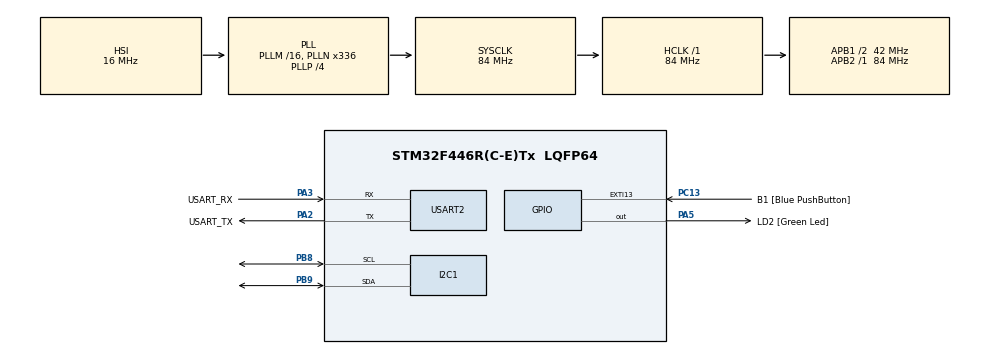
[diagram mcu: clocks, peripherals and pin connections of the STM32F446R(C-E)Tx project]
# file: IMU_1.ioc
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Mcu.Family=STM32F4
Mcu.Name=STM32F446R(C-E)Tx
Mcu.Package=LQFP64
NVIC.PriorityGroup=NVIC_PRIORITYGROUP_0
PA13.GPIO_Label=TMS
PA13.Signal=SYS_JTMS-SWDIO
PA14.GPIO_Label=TCK
PA14.Signal=SYS_JTCK-SWCLK
PA2.GPIO_Label=USART_TX
PA2.Mode=Asynchronous
PA2.Signal=USART2_TX
PA3.GPIO_Label=USART_RX
PA3.Mode=Asynchronous
PA3.Signal=USART2_RX
PA5.GPIO_Label=LD2 [Green Led]
PA5.GPIO_PuPd=GPIO_NOPULL
PA5.PinState=GPIO_PIN_SET
PA5.Signal=GPIO_Output
PB3.GPIO_Label=SWO
PB3.Signal=SYS_JTDO-SWO
PB8.GPIO_Pu=GPIO_PULLUP
PB8.Mode=I2C
PB8.Signal=I2C1_SCL
PB9.GPIO_Pu=GPIO_PULLUP
PB9.Mode=I2C
PB9.Signal=I2C1_SDA
PC13.GPIO_Label=B1 [Blue PushButton]
PC13.GPIO_ModeDefaultEXTI=GPIO_MODE_IT_FALLING
PC13.GPIO_PuPd=GPIO_NOPULL
PC13.Signal=GPXTI13
PC14-OSC32_IN.Signal=RCC_OSC32_IN
PC15-OSC32_OUT.Signal=RCC_OSC32_OUT
PH0-OSC_IN.Signal=RCC_OSC_IN
PH1-OSC_OUT.Signal=RCC_OSC_OUT
ProjectManager.HeapSize=0x200
ProjectManager.StackSize=0x400
ProjectManager.TargetToolchain=STM32CubeIDE
RCC.AHBFreq_Value=84000000
RCC.APB1CLKDivider=RCC_HCLK_DIV2
RCC.APB1Freq_Value=42000000
RCC.APB1TimFreq_Value=84000000
RCC.APB2Freq_Value=84000000
RCC.APB2TimFreq_Value=84000000
RCC.CortexFreq_Value=84000000
RCC.FLatency-AdvancedSettings=FLASH_LATENCY_2
RCC.HCLKFreq_Value=84000000
RCC.HSE_VALUE=8000000
RCC.HSI_VALUE=16000000
RCC.LSE_VALUE=32768
RCC.PLLN=336
RCC.PLLP=RCC_PLLP_DIV4
RCC.SYSCLKFreq_VALUE=84000000
RCC.SYSCLKSource=RCC_SYSCLKSOURCE_PLLCLK
RCC.USBFreq_Value=168000000
RCC.VCOOutputFreq_Value=336000000
USART2.VirtualMode=VM_ASYNC
board=NUCLEO-F446RE

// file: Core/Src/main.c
/* USER CODE BEGIN Header */
/**
  ******************************************************************************
  * @file           : main.c
  * @brief          : Main program body
  ******************************************************************************
  * @attention
  *
  * Copyright (c) 2026 STMicroelectronics.
  * All rights reserved.
  *
  * This software is licensed under terms that can be found in the LICENSE file
  * in the root directory of this software component.
  * If no LICENSE file comes with this software, it is provided AS-IS.
  *
  ******************************************************************************
  */
/* USER CODE END Header */
#include "main.h"
#include <stdio.h>
#include <string.h>

/* USER CODE BEGIN PTD */
typedef struct
{
    int16_t accel_raw_x;
    int16_t accel_raw_y;
    int16_t accel_raw_z;

    int16_t gyro_raw_x;
    int16_t gyro_raw_y;
    int16_t gyro_raw_z;

    int16_t temperature_raw;

    float accel_x_g;
    float accel_y_g;
    float accel_z_g;

    float gyro_x_dps;
    float gyro_y_dps;
    float gyro_z_dps;

    float temperature_c;
} MPU6050_Data_t;

/* USER CODE END PTD */

/* USER CODE BEGIN PD */
/* HAL expects the 7-bit I2C address shifted left by one bit */
#define MPU6050_ADDR           (0x68 << 1)

#define MPU6050_REG_SMPLRT_DIV 0x19
#define MPU6050_REG_CONFIG     0x1A
#define MPU6050_REG_GYRO_CFG   0x1B
#define MPU6050_REG_ACCEL_CFG  0x1C
#define MPU6050_REG_DATA_START 0x3B
#define MPU6050_REG_PWR_MGMT_1 0x6B
#define MPU6050_REG_WHO_AM_I   0x75

/* USER CODE END PD */

I2C_HandleTypeDef hi2c1;

UART_HandleTypeDef huart2;

void SystemClock_Config(void);
static void MX_GPIO_Init(void);
static void MX_I2C1_Init(void);
static void MX_USART2_UART_Init(void);

/* USER CODE BEGIN 0 */

static HAL_StatusTypeDef MPU6050_WriteRegister(uint8_t reg,
                                               uint8_t value)
{
    return HAL_I2C_Mem_Write(&hi2c1,
                             MPU6050_ADDR,
                             reg,
                             I2C_MEMADD_SIZE_8BIT,
                             &value,
                             1,
                             HAL_MAX_DELAY);
}

static HAL_StatusTypeDef MPU6050_ReadRegister(uint8_t reg,
                                              uint8_t *value)
{
    return HAL_I2C_Mem_Read(&hi2c1,
                            MPU6050_ADDR,
                            reg,
                            I2C_MEMADD_SIZE_8BIT,
                            value,
                            1,
                            HAL_MAX_DELAY);
}

static HAL_StatusTypeDef MPU6050_Init(void)
{
    uint8_t who_am_i = 0;

    /*
     * Confirm that the MPU-6050 responds.
     * WHO_AM_I should normally return 0x68.
     */
    if (MPU6050_ReadRegister(MPU6050_REG_WHO_AM_I,
                            &who_am_i) != HAL_OK)
    {
        return HAL_ERROR;
    }

    if (who_am_i != 0x68)
    {
        return HAL_ERROR;
    }

    /*
     * PWR_MGMT_1:
     * Wake up the MPU-6050 and use the X-axis gyroscope
     * clock as the internal clock source.
     */
    if (MPU6050_WriteRegister(MPU6050_REG_PWR_MGMT_1,
                              0x01) != HAL_OK)
    {
        return HAL_ERROR;
    }

    HAL_Delay(100);

    /*
     * Sample rate:
     * Gyroscope output rate = 1 kHz when DLPF is enabled.
     * Sample rate = 1000 / (1 + 9) = 100 Hz.
     */
    if (MPU6050_WriteRegister(MPU6050_REG_SMPLRT_DIV,
                              9) != HAL_OK)
    {
        return HAL_ERROR;
    }

    /*
     * Digital low-pass filter configuration.
     * DLPF_CFG = 3.
     */
    if (MPU6050_WriteRegister(MPU6050_REG_CONFIG,
                              0x03) != HAL_OK)
    {
        return HAL_ERROR;
    }

    /*
     * Gyroscope full-scale range:
     * 0x00 = +/-250 degrees per second.
     * Sensitivity = 131 LSB/(degree/second).
     */
    if (MPU6050_WriteRegister(MPU6050_REG_GYRO_CFG,
                              0x00) != HAL_OK)
    {
        return HAL_ERROR;
    }

    /*
     * Accelerometer full-scale range:
     * 0x00 = +/-2 g.
     * Sensitivity = 16384 LSB/g.
     */
    if (MPU6050_WriteRegister(MPU6050_REG_ACCEL_CFG,
                              0x00) != HAL_OK)
    {
        return HAL_ERROR;
    }

    return HAL_OK;
}

static HAL_StatusTypeDef MPU6050_ReadData(MPU6050_Data_t *data)
{
    uint8_t buffer[14];

    /*
     * Read all 14 bytes in one I2C transaction:
     *
     * 0x3B-0x40: Accelerometer
     * 0x41-0x42: Temperature
     * 0x43-0x48: Gyroscope
     */
    if (HAL_I2C_Mem_Read(&hi2c1,
                         MPU6050_ADDR,
                         MPU6050_REG_DATA_START,
                         I2C_MEMADD_SIZE_8BIT,
                         buffer,
                         sizeof(buffer),
                         HAL_MAX_DELAY) != HAL_OK)
    {
        return HAL_ERROR;
    }

    data->accel_raw_x =
        (int16_t)((buffer[0] << 8) | buffer[1]);

    data->accel_raw_y =
        (int16_t)((buffer[2] << 8) | buffer[3]);

    data->accel_raw_z =
        (int16_t)((buffer[4] << 8) | buffer[5]);

    data->temperature_raw =
        (int16_t)((buffer[6] << 8) | buffer[7]);

    data->gyro_raw_x =
        (int16_t)((buffer[8] << 8) | buffer[9]);

    data->gyro_raw_y =
        (int16_t)((buffer[10] << 8) | buffer[11]);

    data->gyro_raw_z =
        (int16_t)((buffer[12] << 8) | buffer[13]);

    /*
     * Convert raw accelerometer data to g.
     * Sensitivity for +/-2 g = 16384 LSB/g.
     */
    data->accel_x_g = data->accel_raw_x / 16384.0f;
    data->accel_y_g = data->accel_raw_y / 16384.0f;
    data->accel_z_g = data->accel_raw_z / 16384.0f;

    /*
     * Convert raw gyroscope data to degrees per second.
     * Sensitivity for +/-250 dps = 131 LSB/dps.
     */
    data->gyro_x_dps = data->gyro_raw_x / 131.0f;
    data->gyro_y_dps = data->gyro_raw_y / 131.0f;
    data->gyro_z_dps = data->gyro_raw_z / 131.0f;

    /*
     * MPU-6050 temperature conversion formula.
     */
    data->temperature_c =
        (data->temperature_raw / 340.0f) + 36.53f;

    return HAL_OK;
}

static void UART_SendString(const char *text)
{
    HAL_UART_Transmit(&huart2,
                      (uint8_t *)text,
                      strlen(text),
                      HAL_MAX_DELAY);
}

/* USER CODE END 0 */

int main(void)
{

  /* MCU Configuration--------------------------------------------------------*/

  /* Reset of all peripherals, Initializes the Flash interface and the Systick. */
  HAL_Init();

  /* Configure the system clock */
  SystemClock_Config();

  /* Initialize all configured peripherals */
  MX_GPIO_Init();
  MX_I2C1_Init();
  MX_USART2_UART_Init();
  /* USER CODE BEGIN 2 */

  MPU6050_Data_t imu_data;

  /* USER CODE BEGIN WHILE */

  UART_SendString("Scanning I2C bus...\r\n");

  HAL_StatusTypeDef result;
  uint8_t i;
  char addFound[8];
  for (i = 1; i < 128; i++) {
      // Shift address left by 1 for STM32 HAL compatibility
      result = HAL_I2C_IsDeviceReady(&hi2c1, (uint16_t)(i << 1), 3, 5);

      if (result == HAL_OK) {
          // Device found!
    	  UART_SendString("I2C device found at address: 0x02");
    	  snprintf(addFound, sizeof(addFound), "%d", i);
    	  UART_SendString("\r\n");
      }
  }
  HAL_Delay(5000); // Scan every 5 seconds

  /* USER CODE END WHILE */

  UART_SendString("\r\nMPU-6050 test starting...\r\n");

  if (HAL_I2C_IsDeviceReady(&hi2c1,
                            MPU6050_ADDR,
                            3,
                            100) != HAL_OK)
  {
      UART_SendString("MPU-6050 not detected on I2C bus.\r\n");
      UART_SendString("Check power, SDA, SCL, GND, and AD0.\r\n");

      Error_Handler();
  }

  if (MPU6050_Init() != HAL_OK)
  {
      UART_SendString("MPU-6050 initialization failed.\r\n");

      Error_Handler();
  }

  UART_SendString("MPU-6050 initialized successfully.\r\n");

  /* USER CODE END 2 */

  /* Infinite loop */
  /* USER CODE BEGIN WHILE */
  while (1)
  {
	  char uart_buffer[200];

	  if (MPU6050_ReadData(&imu_data) == HAL_OK)
	  {
	      int length = snprintf(
	          uart_buffer,
	          sizeof(uart_buffer),
	          "ACC[g] X:%7.3f Y:%7.3f Z:%7.3f | "
	          "GYRO[dps] X:%8.2f Y:%8.2f Z:%8.2f | "
	          "TEMP:%6.2f C\r\n",
	          imu_data.accel_x_g,
	          imu_data.accel_y_g,
	          imu_data.accel_z_g,
	          imu_data.gyro_x_dps,
	          imu_data.gyro_y_dps,
	          imu_data.gyro_z_dps,
	          imu_data.temperature_c
	      );

	      if (length > 0)
	      {
	          HAL_UART_Transmit(&huart2,
	                            (uint8_t *)uart_buffer,
	                            length,
	                            HAL_MAX_DELAY);
	      }
	  }
	  else
	  {
	      UART_SendString("MPU-6050 read error.\r\n");
	  }

	  HAL_Delay(100);
    /* USER CODE END WHILE */

  }
}

void SystemClock_Config(void)
{
  RCC_OscInitTypeDef RCC_OscInitStruct = {0};
  RCC_ClkInitTypeDef RCC_ClkInitStruct = {0};

  /** Configure the main internal regulator output voltage
  */
  __HAL_RCC_PWR_CLK_ENABLE();
  __HAL_PWR_VOLTAGESCALING_CONFIG(PWR_REGULATOR_VOLTAGE_SCALE3);

  /** Initializes the RCC Oscillators according to the specified parameters
  * in the RCC_OscInitTypeDef structure.
  */
  RCC_OscInitStruct.OscillatorType = RCC_OSCILLATORTYPE_HSI;
  RCC_OscInitStruct.HSIState = RCC_HSI_ON;
  RCC_OscInitStruct.HSICalibrationValue = RCC_HSICALIBRATION_DEFAULT;
  RCC_OscInitStruct.PLL.PLLState = RCC_PLL_ON;
  RCC_OscInitStruct.PLL.PLLSource = RCC_PLLSOURCE_HSI;
  RCC_OscInitStruct.PLL.PLLM = 16;
  RCC_OscInitStruct.PLL.PLLN = 336;
  RCC_OscInitStruct.PLL.PLLP = RCC_PLLP_DIV4;
  RCC_OscInitStruct.PLL.PLLQ = 2;
  RCC_OscInitStruct.PLL.PLLR = 2;
  if (HAL_RCC_OscConfig(&RCC_OscInitStruct) != HAL_OK)
  {
    Error_Handler();
  }

  /** Initializes the CPU, AHB and APB buses clocks
  */
  RCC_ClkInitStruct.ClockType = RCC_CLOCKTYPE_HCLK|RCC_CLOCKTYPE_SYSCLK
                              |RCC_CLOCKTYPE_PCLK1|RCC_CLOCKTYPE_PCLK2;
  RCC_ClkInitStruct.SYSCLKSource = RCC_SYSCLKSOURCE_PLLCLK;
  RCC_ClkInitStruct.AHBCLKDivider = RCC_SYSCLK_DIV1;
  RCC_ClkInitStruct.APB1CLKDivider = RCC_HCLK_DIV2;
  RCC_ClkInitStruct.APB2CLKDivider = RCC_HCLK_DIV1;

  if (HAL_RCC_ClockConfig(&RCC_ClkInitStruct, FLASH_LATENCY_2) != HAL_OK)
  {
    Error_Handler();
  }
}

static void MX_I2C1_Init(void)
{

  hi2c1.Instance = I2C1;
  hi2c1.Init.ClockSpeed = 100000;
  hi2c1.Init.DutyCycle = I2C_DUTYCYCLE_2;
  hi2c1.Init.OwnAddress1 = 0;
  hi2c1.Init.AddressingMode = I2C_ADDRESSINGMODE_7BIT;
  hi2c1.Init.DualAddressMode = I2C_DUALADDRESS_DISABLE;
  hi2c1.Init.OwnAddress2 = 0;
  hi2c1.Init.GeneralCallMode = I2C_GENERALCALL_DISABLE;
  hi2c1.Init.NoStretchMode = I2C_NOSTRETCH_DISABLE;
  if (HAL_I2C_Init(&hi2c1) != HAL_OK)
  {
    Error_Handler();
  }

}

static void MX_USART2_UART_Init(void)
{

  huart2.Instance = USART2;
  huart2.Init.BaudRate = 115200;
  huart2.Init.WordLength = UART_WORDLENGTH_8B;
  huart2.Init.StopBits = UART_STOPBITS_1;
  huart2.Init.Parity = UART_PARITY_NONE;
  huart2.Init.Mode = UART_MODE_TX_RX;
  huart2.Init.HwFlowCtl = UART_HWCONTROL_NONE;
  huart2.Init.OverSampling = UART_OVERSAMPLING_16;
  if (HAL_UART_Init(&huart2) != HAL_OK)
  {
    Error_Handler();
  }

}

static void MX_GPIO_Init(void)
{
  GPIO_InitTypeDef GPIO_InitStruct = {0};

  /* GPIO Ports Clock Enable */
  __HAL_RCC_GPIOC_CLK_ENABLE();
  __HAL_RCC_GPIOH_CLK_ENABLE();
  __HAL_RCC_GPIOA_CLK_ENABLE();
  __HAL_RCC_GPIOB_CLK_ENABLE();

  /*Configure GPIO pin Output Level */
  HAL_GPIO_WritePin(LD2_GPIO_Port, LD2_Pin, GPIO_PIN_SET);

  /*Configure GPIO pin : B1_Pin */
  GPIO_InitStruct.Pin = B1_Pin;
  GPIO_InitStruct.Mode = GPIO_MODE_IT_FALLING;
  GPIO_InitStruct.Pull = GPIO_NOPULL;
  HAL_GPIO_Init(B1_GPIO_Port, &GPIO_InitStruct);

  /*Configure GPIO pin : LD2_Pin */
  GPIO_InitStruct.Pin = LD2_Pin;
  GPIO_InitStruct.Mode = GPIO_MODE_OUTPUT_PP;
  GPIO_InitStruct.Pull = GPIO_NOPULL;
  GPIO_InitStruct.Speed = GPIO_SPEED_FREQ_LOW;
  HAL_GPIO_Init(LD2_GPIO_Port, &GPIO_InitStruct);

}

void Error_Handler(void)
{
  __disable_irq();
  while (1)
  {
  }
}
